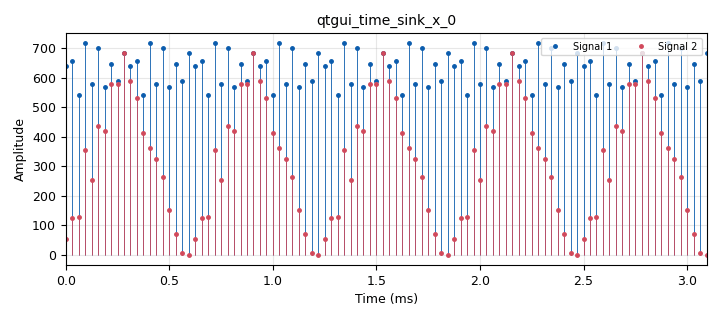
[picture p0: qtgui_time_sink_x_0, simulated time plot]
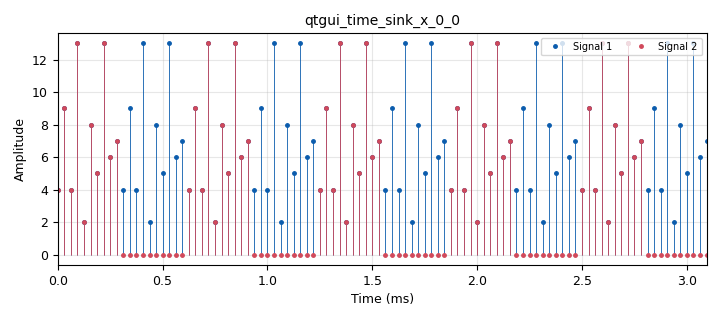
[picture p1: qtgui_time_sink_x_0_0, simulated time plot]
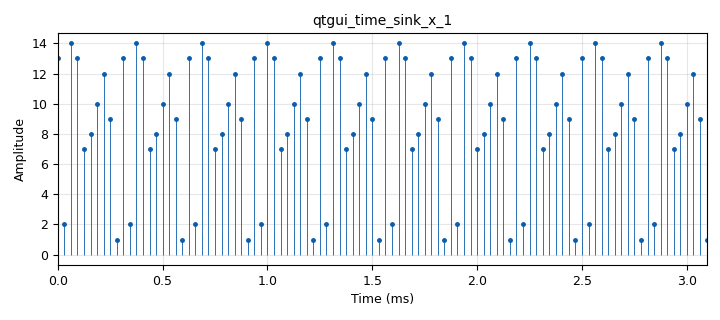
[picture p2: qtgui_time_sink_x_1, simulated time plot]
options:
  parameters:
    generate_options: qt_gui
    id: circularconvo
    output_language: python
    title: Not titled yet
  states: {}

blocks:
- name: N
  id: variable
  parameters:
    value: '10'
  states: {}
- name: func_X
  id: variable
  parameters:
    value: np.random.randint(15, size=N)
  states: {}
- name: func_h
  id: variable
  parameters:
    value: np.random.randint(15, size=N)
  states: {}
- name: samp_rate
  id: variable
  parameters:
    value: '32000'
  states: {}
- name: blocks_throttle_0
  id: blocks_throttle
  parameters:
    samples_per_second: samp_rate
    type: float
  states: {}
- name: blocks_throttle_0_0
  id: blocks_throttle
  parameters:
    samples_per_second: samp_rate
    type: float
  states: {}
- name: blocks_throttle_1
  id: blocks_throttle
  parameters:
    samples_per_second: samp_rate
    type: float
  states: {}
- name: blocks_vector_source_x_0
  id: blocks_vector_source_x
  parameters:
    repeat: 'True'
    type: float
    vector: func_X
  states: {}
- name: blocks_vector_source_x_1
  id: blocks_vector_source_x
  parameters:
    repeat: 'True'
    type: float
    vector: list(it.chain(func_X, [0]*N))
  states: {}
- name: blocks_vector_source_x_2
  id: blocks_vector_source_x
  parameters:
    repeat: 'True'
    type: float
    vector: func_h
  states: {}
- name: import_0
  id: import
  parameters:
    imports: import numpy as np
  states: {}
- name: import_1
  id: import
  parameters:
    imports: import itertools as it
  states: {}
- name: interp_fir_filter_xxx_0
  id: interp_fir_filter_xxx
  parameters:
    interp: '1'
    taps: func_h
    type: fff
  states: {}
- name: interp_fir_filter_xxx_1
  id: interp_fir_filter_xxx
  parameters:
    interp: '1'
    taps: func_h
    type: fff
  states: {}
- name: qtgui_time_sink_x_0
  id: qtgui_time_sink_x
  parameters:
    autoscale: 'True'
    nconnections: '2'
    size: N*10
    srate: samp_rate
    stemplot: 'True'
    type: float
  states: {}
- name: qtgui_time_sink_x_0_0
  id: qtgui_time_sink_x
  parameters:
    autoscale: 'True'
    nconnections: '2'
    size: N*10
    srate: samp_rate
    stemplot: 'True'
    type: float
  states: {}
- name: qtgui_time_sink_x_1
  id: qtgui_time_sink_x
  parameters:
    autoscale: 'True'
    color1: magenta
    size: N*10
    srate: samp_rate
    stemplot: 'True'
    type: float
  states: {}

connections:
- [blocks_throttle_0, '0', interp_fir_filter_xxx_1, '0']
- [blocks_throttle_0, '0', qtgui_time_sink_x_0_0, '1']
- [blocks_throttle_0_0, '0', qtgui_time_sink_x_1, '0']
- [blocks_throttle_1, '0', interp_fir_filter_xxx_0, '0']
- [blocks_throttle_1, '0', qtgui_time_sink_x_0_0, '0']
- [blocks_vector_source_x_0, '0', blocks_throttle_1, '0']
- [blocks_vector_source_x_1, '0', blocks_throttle_0, '0']
- [blocks_vector_source_x_2, '0', blocks_throttle_0_0, '0']
- [interp_fir_filter_xxx_0, '0', qtgui_time_sink_x_0, '0']
- [interp_fir_filter_xxx_1, '0', qtgui_time_sink_x_0, '1']

metadata:
  file_format: 1
